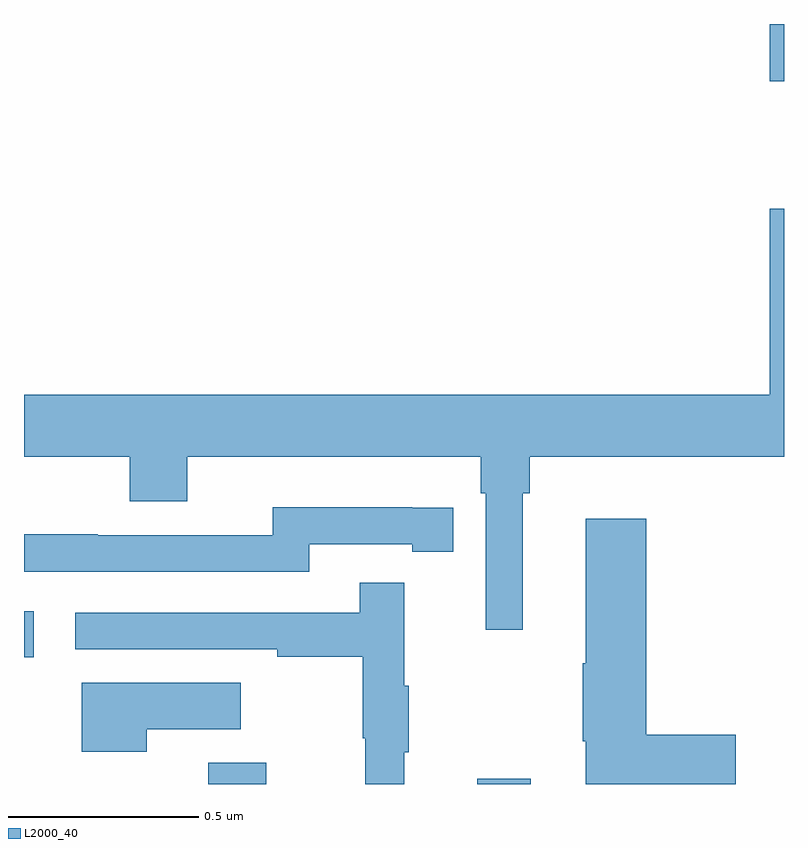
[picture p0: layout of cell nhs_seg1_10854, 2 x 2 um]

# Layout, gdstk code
import gdstk
lib = gdstk.Library(unit=1e-6, precision=1e-09)
def R(c, l, rs):  # rectangles x0, y0, x1, y1
    for r in rs: c.add(gdstk.rectangle(r[:2], r[2:], *l))
def P(c, l, *ps):  # polygons
    for p in ps: c.add(gdstk.Polygon(p, *l))
L2000_40 = (2000, 40)

nhs_seg1_10854 = lib.new_cell('nhs_seg1_10854')
R(nhs_seg1_10854, L2000_40, [(246.485,556.199,246.637,556.255), (247.193,556.199,247.333,556.213), (246,556.533,246.025,556.654), (247.963,558.048,248,558.199)])
P(nhs_seg1_10854, L2000_40, [(246,557.06),(246.278,557.06),(246.278,556.943),(246.43,556.943),(246.43,557.06),(247.202,557.06),(247.202,556.964),(247.215,556.964),(247.215,556.605),(247.312,556.605),(247.312,556.964),(247.331,556.964),(247.331,557.06),(248,557.06),(248,557.713),(247.963,557.713),(247.963,557.224),(246,557.224)],
  [(246.75,556.83),(247.022,556.83),(247.022,556.81),(247.13,556.81),(247.13,556.926),(247.022,556.926),(247.022,556.927),(246.654,556.927),(246.654,556.854),(246.194,556.854),(246.194,556.856),(246,556.856),(246,556.758),(246.75,556.758)],
  [(247.873,556.328),(247.637,556.328),(247.637,556.897),(247.478,556.897),(247.478,556.517),(247.471,556.517),(247.471,556.311),(247.478,556.311),(247.478,556.199),(247.873,556.199)],
  [(247.001,556.283),(247.012,556.283),(247.012,556.457),(247.001,556.457),(247.001,556.729),(246.883,556.729),(246.883,556.65),(246.135,556.65),(246.135,556.554),(246.667,556.554),(246.667,556.534),(246.891,556.534),(246.891,556.32),(246.898,556.32),(246.898,556.199),(247.001,556.199)],
  [(246.323,556.343),(246.571,556.343),(246.571,556.465),(246.152,556.465),(246.152,556.284),(246.323,556.284)])

lib.write_gds('nhs_seg1_10854.gds')
